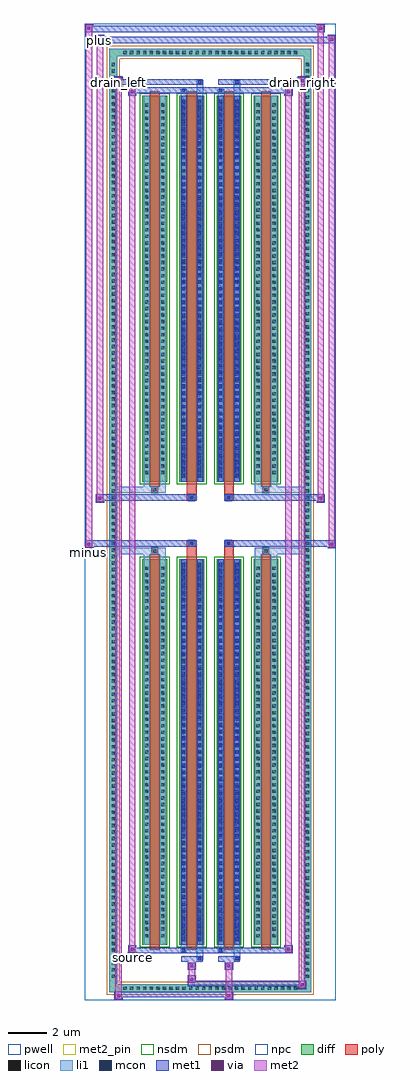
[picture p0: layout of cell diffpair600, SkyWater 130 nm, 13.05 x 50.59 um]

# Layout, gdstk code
import gdstk
lib = gdstk.Library(unit=1e-6, precision=5e-09)
def R(c, l, rs):  # rectangles x0, y0, x1, y1
    for r in rs: c.add(gdstk.rectangle(r[:2], r[2:], *l))
def A(c, l, x, y, w, h, nx, ny, dx, dy):  # array of equal rectangles
    R(c, l, [(x+i*dx, y+j*dy, x+i*dx+w, y+j*dy+h) for i in range(nx) for j in range(ny)])
def P(c, l, *ps):  # polygons
    for p in ps: c.add(gdstk.Polygon(p, *l))
pwell = (64, 44)
diff = (65, 20)
poly = (66, 20)
licon = (66, 44)
li1 = (67, 20)
mcon = (67, 44)
met1 = (68, 20)
via = (68, 44)
met2_pin = (69, 16)
met2 = (69, 20)
nsdm = (93, 44)
psdm = (94, 20)
npc = (95, 20)

diffpair600 = lib.new_cell('diffpair600')
R(diffpair600, pwell, [(-6.51,-24.86,6.51,25.73), (-3.83,-23.05,-0.01,-0.825), (0.01,-23.05,3.83,-0.825), (-3.83,0.825,-0.01,23.05), (0.01,0.825,3.83,23.05)])
A(diffpair600, diff, -4.625, -24.46, 0.41, 0.41, 27, 2, 0.34, 48.51)
A(diffpair600, diff, -5.24, -23.835, 0.41, 0.41, 1, 140, 0, 0.34)
A(diffpair600, diff, 4.83, -23.835, 0.41, 0.41, 1, 140, 0, 0.34)
A(diffpair600, diff, -3.52, -22.005, 1.28, 20, 4, 2, 1.92, 24.01)
R(diffpair600, diff, [(-4.625,-24.46,4.625,-24.05), (-5.24,-23.835,-4.83,23.835), (4.83,-23.835,5.24,23.835), (-4.625,24.05,4.625,24.46)])
P(diffpair600, diff, [(5.24,24.46),(-5.24,24.46),(-5.24,-24.05),(-4.83,-24.05),(-4.83,24.05),(4.83,24.05),(4.83,-24.05),(-4.83,-24.05),(-5.24,-24.05),(-5.24,-24.46),(5.24,-24.46)])
A(diffpair600, poly, -3.13, -22.255, 0.5, 20.5, 4, 2, 1.92, 24.01)
R(diffpair600, poly, [(-3.045,-1.755,-2.715,-1.425), (-3.045,-1.755,-2.715,-1.425), (-1.21,-1.755,-0.71,-1.355), (0.71,-1.755,1.21,-1.355), (2.715,-1.755,3.045,-1.425), (2.715,-1.755,3.045,-1.425), (-1.21,-1.355,-0.71,-1.025), (-1.125,-1.355,-0.795,-1.025), (0.71,-1.355,1.21,-1.025), (0.795,-1.355,1.125,-1.025), (-1.21,1.025,-0.71,1.355), (-1.125,1.025,-0.795,1.355), (0.71,1.025,1.21,1.355), (0.795,1.025,1.125,1.355), (-1.21,1.355,-0.71,1.755), (0.71,1.355,1.21,1.755), (-3.045,1.425,-2.715,1.755), (-3.045,1.425,-2.715,1.755), (2.715,1.425,3.045,1.755), (2.715,1.425,3.045,1.755)])
A(diffpair600, licon, -4.505, -24.34, 0.17, 0.17, 27, 2, 0.34, 48.51)
A(diffpair600, licon, -5.12, -23.715, 0.17, 0.17, 1, 140, 0, 0.34)
A(diffpair600, licon, 4.95, -23.715, 0.17, 0.17, 1, 140, 0, 0.34)
A(diffpair600, licon, -3.38, -21.61, 0.17, 0.17, 1, 57, 0, 0.34)
A(diffpair600, licon, -2.55, -21.61, 0.17, 0.17, 1, 57, 0, 0.34)
A(diffpair600, licon, -1.46, -21.61, 0.17, 0.17, 1, 57, 0, 0.34)
A(diffpair600, licon, -0.63, -21.61, 0.17, 0.17, 1, 57, 0, 0.34)
A(diffpair600, licon, 0.46, -21.61, 0.17, 0.17, 1, 57, 0, 0.34)
A(diffpair600, licon, 1.29, -21.61, 0.17, 0.17, 1, 57, 0, 0.34)
A(diffpair600, licon, 2.38, -21.61, 0.17, 0.17, 1, 57, 0, 0.34)
A(diffpair600, licon, 3.21, -21.61, 0.17, 0.17, 1, 57, 0, 0.34)
A(diffpair600, licon, -3.38, 2.4, 0.17, 0.17, 1, 57, 0, 0.34)
A(diffpair600, licon, -2.55, 2.4, 0.17, 0.17, 1, 57, 0, 0.34)
A(diffpair600, licon, -1.46, 2.4, 0.17, 0.17, 1, 57, 0, 0.34)
A(diffpair600, licon, -0.63, 2.4, 0.17, 0.17, 1, 57, 0, 0.34)
A(diffpair600, licon, 0.46, 2.4, 0.17, 0.17, 1, 57, 0, 0.34)
A(diffpair600, licon, 1.29, 2.4, 0.17, 0.17, 1, 57, 0, 0.34)
A(diffpair600, licon, 2.38, 2.4, 0.17, 0.17, 1, 57, 0, 0.34)
A(diffpair600, licon, 3.21, 2.4, 0.17, 0.17, 1, 57, 0, 0.34)
R(diffpair600, licon, [(-2.965,-1.675,-2.795,-1.505), (2.795,-1.675,2.965,-1.505), (-1.045,-1.275,-0.875,-1.105), (0.875,-1.275,1.045,-1.105), (-1.045,1.105,-0.875,1.275), (0.875,1.105,1.045,1.275), (-2.965,1.505,-2.795,1.675), (2.795,1.505,2.965,1.675)])
A(diffpair600, li1, -4.585, -24.42, 0.33, 0.33, 27, 2, 0.34, 48.51)
A(diffpair600, li1, -5.2, -23.795, 0.33, 0.33, 1, 140, 0, 0.34)
A(diffpair600, li1, 4.87, -23.795, 0.33, 0.33, 1, 140, 0, 0.34)
A(diffpair600, li1, -1.46, -21.81, 0.17, 0.17, 1, 55, 0, 0.36)
A(diffpair600, li1, -0.63, -21.81, 0.17, 0.17, 1, 55, 0, 0.36)
A(diffpair600, li1, 0.46, -21.81, 0.17, 0.17, 1, 55, 0, 0.36)
A(diffpair600, li1, 1.29, -21.81, 0.17, 0.17, 1, 55, 0, 0.36)
A(diffpair600, li1, -3.46, -21.69, 0.33, 0.33, 1, 57, 0, 0.34)
A(diffpair600, li1, -2.63, -21.69, 0.33, 0.33, 1, 57, 0, 0.34)
A(diffpair600, li1, -1.54, -21.69, 0.33, 0.33, 1, 57, 0, 0.34)
A(diffpair600, li1, -0.71, -21.69, 0.33, 0.33, 1, 57, 0, 0.34)
A(diffpair600, li1, 0.38, -21.69, 0.33, 0.33, 1, 57, 0, 0.34)
A(diffpair600, li1, 1.21, -21.69, 0.33, 0.33, 1, 57, 0, 0.34)
A(diffpair600, li1, 2.3, -21.69, 0.33, 0.33, 1, 57, 0, 0.34)
A(diffpair600, li1, 3.13, -21.69, 0.33, 0.33, 1, 57, 0, 0.34)
A(diffpair600, li1, -1.46, 2.2, 0.17, 0.17, 1, 55, 0, 0.36)
A(diffpair600, li1, -0.63, 2.2, 0.17, 0.17, 1, 55, 0, 0.36)
A(diffpair600, li1, 0.46, 2.2, 0.17, 0.17, 1, 55, 0, 0.36)
A(diffpair600, li1, 1.29, 2.2, 0.17, 0.17, 1, 55, 0, 0.36)
A(diffpair600, li1, -3.46, 2.32, 0.33, 0.33, 1, 57, 0, 0.34)
A(diffpair600, li1, -2.63, 2.32, 0.33, 0.33, 1, 57, 0, 0.34)
A(diffpair600, li1, -1.54, 2.32, 0.33, 0.33, 1, 57, 0, 0.34)
A(diffpair600, li1, -0.71, 2.32, 0.33, 0.33, 1, 57, 0, 0.34)
A(diffpair600, li1, 0.38, 2.32, 0.33, 0.33, 1, 57, 0, 0.34)
A(diffpair600, li1, 1.21, 2.32, 0.33, 0.33, 1, 57, 0, 0.34)
A(diffpair600, li1, 2.3, 2.32, 0.33, 0.33, 1, 57, 0, 0.34)
A(diffpair600, li1, 3.13, 2.32, 0.33, 0.33, 1, 57, 0, 0.34)
R(diffpair600, li1, [(-5.24,-24.46,-4.83,-24.05), (-5.24,-24.46,-4.83,-24.05), (-4.83,-24.46,4.83,-24.05), (4.83,-24.46,5.24,-24.05), (4.83,-24.46,5.24,-24.05), (-5.24,-24.05,-4.83,24.05), (4.83,-24.05,5.24,24.05), (-0.71,-22.81,-0.38,-22.005), (-0.63,-22.81,-0.46,-22.64), (1.21,-22.81,1.54,-22.005), (1.29,-22.81,1.46,-22.64), (-1.54,-22.38,-1.21,-22.005), (-1.46,-22.38,-1.29,-22.21), (0.38,-22.38,0.71,-22.005), (0.46,-22.38,0.63,-22.21), (-3.46,-22.005,-3.13,-2.005), (-2.63,-22.005,-2.3,-2.005), (-1.54,-22.005,-1.21,-2.005), (-0.71,-22.005,-0.38,-2.005), (0.38,-22.005,0.71,-2.005), (1.21,-22.005,1.54,-2.005), (2.3,-22.005,2.63,-2.005), (3.13,-22.005,3.46,-2.005), (-1.46,-21.81,-1.29,-2.2), (-0.63,-21.81,-0.46,-2.2), (0.46,-21.81,0.63,-2.2), (1.29,-21.81,1.46,-2.2), (-3.46,-2.005,-3.13,-1.425), (-2.63,-2.005,-2.3,-1.425), (2.3,-2.005,2.63,-1.425), (3.13,-2.005,3.46,-1.425), (-5.24,-1.755,-3.045,-1.425), (-3.46,-1.755,-3.045,-1.425), (-3.045,-1.755,-2.715,-1.425), (-2.715,-1.755,-2.3,-1.425), (2.3,-1.755,2.715,-1.425), (2.715,-1.755,3.045,-1.425), (2.715,-1.755,5.24,-1.425), (3.045,-1.755,3.46,-1.425), (-1.125,-1.355,-0.795,-1.025), (0.795,-1.355,1.125,-1.025), (-1.125,1.025,-0.795,1.355), (0.795,1.025,1.125,1.355), (-5.24,1.425,-3.045,1.755), (-3.46,1.425,-3.045,1.755), (-3.46,1.425,-3.13,2.005), (-3.045,1.425,-2.715,1.755), (-2.715,1.425,-2.3,1.755), (-2.63,1.425,-2.3,2.005), (2.3,1.425,2.715,1.755), (2.3,1.425,2.63,2.005), (2.715,1.425,3.045,1.755), (2.715,1.425,5.24,1.755), (3.045,1.425,3.46,1.755), (3.13,1.425,3.46,2.005), (-3.46,2.005,-3.13,22.005), (-2.63,2.005,-2.3,22.005), (-1.54,2.005,-1.21,22.005), (-0.71,2.005,-0.38,22.005), (0.38,2.005,0.71,22.005), (1.21,2.005,1.54,22.005), (2.3,2.005,2.63,22.005), (3.13,2.005,3.46,22.005), (-1.46,2.2,-1.29,21.81), (-0.63,2.2,-0.46,21.81), (0.46,2.2,0.63,21.81), (1.29,2.2,1.46,21.81), (-1.54,22.005,-1.21,22.38), (-0.71,22.005,-0.38,22.81), (0.38,22.005,0.71,22.38), (1.21,22.005,1.54,22.81), (-1.46,22.21,-1.29,22.38), (0.46,22.21,0.63,22.38), (-0.63,22.64,-0.46,22.81), (1.29,22.64,1.46,22.81), (-5.24,24.05,-4.83,24.46), (-5.24,24.05,-4.83,24.46), (-4.83,24.05,4.83,24.46), (4.83,24.05,5.24,24.46), (4.83,24.05,5.24,24.46)])
A(diffpair600, mcon, -1.46, -21.81, 0.17, 0.17, 1, 55, 0, 0.36)
A(diffpair600, mcon, -0.63, -21.81, 0.17, 0.17, 1, 55, 0, 0.36)
A(diffpair600, mcon, 0.46, -21.81, 0.17, 0.17, 1, 55, 0, 0.36)
A(diffpair600, mcon, 1.29, -21.81, 0.17, 0.17, 1, 55, 0, 0.36)
A(diffpair600, mcon, -1.46, 2.2, 0.17, 0.17, 1, 55, 0, 0.36)
A(diffpair600, mcon, -0.63, 2.2, 0.17, 0.17, 1, 55, 0, 0.36)
A(diffpair600, mcon, 0.46, 2.2, 0.17, 0.17, 1, 55, 0, 0.36)
A(diffpair600, mcon, 1.29, 2.2, 0.17, 0.17, 1, 55, 0, 0.36)
R(diffpair600, mcon, [(-0.63,-22.81,-0.46,-22.64), (1.29,-22.81,1.46,-22.64), (-1.46,-22.38,-1.29,-22.21), (0.46,-22.38,0.63,-22.21), (-1.045,-1.275,-0.875,-1.105), (0.875,-1.275,1.045,-1.105), (-1.045,1.105,-0.875,1.275), (0.875,1.105,1.045,1.275), (-1.46,22.21,-1.29,22.38), (0.46,22.21,0.63,22.38), (-0.63,22.64,-0.46,22.81), (1.29,22.64,1.46,22.81)])
A(diffpair600, met1, -1.52, -21.87, 0.29, 0.29, 1, 55, 0, 0.36)
A(diffpair600, met1, -0.69, -21.87, 0.29, 0.29, 1, 55, 0, 0.36)
A(diffpair600, met1, 0.4, -21.87, 0.29, 0.29, 1, 55, 0, 0.36)
A(diffpair600, met1, 1.23, -21.87, 0.29, 0.29, 1, 55, 0, 0.36)
A(diffpair600, met1, -1.52, 2.14, 0.29, 0.29, 1, 55, 0, 0.36)
A(diffpair600, met1, -0.69, 2.14, 0.29, 0.29, 1, 55, 0, 0.36)
A(diffpair600, met1, 0.4, 2.14, 0.29, 0.29, 1, 55, 0, 0.36)
A(diffpair600, met1, 1.23, 2.14, 0.29, 0.29, 1, 55, 0, 0.36)
R(diffpair600, met1, [(-4.97,-24.86,-4.54,-24.43), (0.745,-24.86,1.175,-24.43), (-4.97,-24.72,1.175,-24.43), (4.54,-24.29,4.97,-23.86), (-1.175,-24.15,4.97,-23.86), (-1.175,-24.01,-0.745,-23.58), (-1.175,-23.3,-0.745,-22.87), (0.745,-23.3,1.175,-22.87), (-1.52,-22.87,-0.4,-22.58), (-0.69,-22.87,-0.4,-22.58), (0.4,-22.87,1.52,-22.58), (1.23,-22.87,1.52,-22.58), (-4.26,-22.44,-3.83,-22.01), (-4.26,-22.44,-1.52,-22.15), (-1.52,-22.44,-1.23,-22.15), (-1.52,-22.44,-0.4,-22.15), (-0.4,-22.44,0.4,-22.15), (0.4,-22.44,0.69,-22.15), (0.4,-22.44,1.52,-22.15), (1.52,-22.44,4.26,-22.15), (3.83,-22.44,4.26,-22.01), (-1.52,-22.005,-1.23,-2.005), (-0.69,-22.005,-0.4,-2.005), (0.4,-22.005,0.69,-2.005), (1.23,-22.005,1.52,-2.005), (-6.51,-1.455,-6.08,-1.025), (6.08,-1.455,6.51,-1.025), (-6.51,-1.355,-0.71,-1.025), (-1.21,-1.355,-0.71,-1.025), (0.71,-1.355,1.21,-1.025), (0.71,-1.355,6.51,-1.025), (-1.105,-1.335,-0.815,-1.045), (0.815,-1.335,1.105,-1.045), (-5.94,0.925,-5.51,1.355), (5.51,0.925,5.94,1.355), (-5.94,1.025,-1.21,1.355), (-1.21,1.025,-0.71,1.355), (0.71,1.025,1.21,1.355), (1.21,1.025,5.94,1.355), (-1.105,1.045,-0.815,1.335), (0.815,1.045,1.105,1.335), (-1.52,2.005,-1.23,22.005), (-0.69,2.005,-0.4,22.005), (0.4,2.005,0.69,22.005), (1.23,2.005,1.52,22.005), (-4.26,22.01,-3.83,22.44), (3.83,22.01,4.26,22.44), (-4.26,22.15,-1.52,22.44), (-1.52,22.15,-1.23,22.44), (-1.52,22.15,-0.4,22.44), (-0.4,22.15,0.4,22.44), (0.4,22.15,0.69,22.44), (0.4,22.15,1.52,22.44), (1.52,22.15,4.26,22.44), (-4.97,22.58,-4.54,23.01), (-4.97,22.58,-1.52,22.87), (-1.52,22.58,-0.4,22.87), (-0.69,22.58,-0.4,22.87), (0.4,22.58,1.52,22.87), (1.23,22.58,1.52,22.87), (1.52,22.58,4.97,22.87), (4.54,22.58,4.97,23.01), (-5.94,24.73,-5.51,25.16), (-5.94,24.73,-3.83,25.06), (-3.83,24.73,3.83,25.06), (3.83,24.73,6.51,25.06), (6.08,24.73,6.51,25.16), (-6.51,25.3,-6.08,25.73), (-6.51,25.3,-3.83,25.63), (-3.83,25.3,3.83,25.63), (3.83,25.3,5.94,25.63), (5.51,25.3,5.94,25.73)])
R(diffpair600, via, [(-4.83,-24.72,-4.68,-24.57), (0.885,-24.72,1.035,-24.57), (4.68,-24.15,4.83,-24), (-1.035,-23.87,-0.885,-23.72), (-1.035,-23.16,-0.885,-23.01), (0.885,-23.16,1.035,-23.01), (-4.12,-22.3,-3.97,-22.15), (3.97,-22.3,4.12,-22.15), (-6.37,-1.315,-6.22,-1.165), (6.22,-1.315,6.37,-1.165), (-5.8,1.065,-5.65,1.215), (5.65,1.065,5.8,1.215), (-4.12,22.15,-3.97,22.3), (3.97,22.15,4.12,22.3), (-4.83,22.72,-4.68,22.87), (4.68,22.72,4.83,22.87), (-5.8,24.87,-5.65,25.02), (6.22,24.87,6.37,25.02), (-6.37,25.44,-6.22,25.59), (5.65,25.44,5.8,25.59)])
R(diffpair600, met2_pin, [(-4.295,-22.89,-3.795,-22.39), (-6.545,-1.905,-6.045,-1.405), (-5.005,22.46,-4.505,22.96), (4.505,22.46,5.005,22.96), (-5.975,24.61,-5.475,25.11)])
R(diffpair600, met2, [(-4.92,-24.81,-4.59,-24.48), (-4.92,-24.81,-4.59,22.96), (0.795,-24.81,1.125,-24.48), (0.795,-24.48,1.125,-23.25), (4.59,-24.24,4.92,-23.91), (4.59,-24.24,4.92,22.96), (-1.125,-23.96,-0.795,-23.63), (-1.125,-23.63,-0.795,-23.25), (-1.125,-23.25,-0.795,-22.92), (0.795,-23.25,1.125,-22.92), (-4.21,-22.39,-3.88,-22.06), (-4.21,-22.39,-3.88,22.39), (3.88,-22.39,4.21,-22.06), (3.88,-22.39,4.21,22.39), (-6.46,-1.405,-6.13,-1.075), (-6.46,-1.405,-6.13,25.68), (6.13,-1.405,6.46,-1.075), (6.13,-1.405,6.46,25.11), (-5.89,0.975,-5.56,1.305), (-5.89,0.975,-5.56,25.11), (5.56,0.975,5.89,1.305), (5.56,0.975,5.89,25.68), (-4.21,22.06,-3.88,22.39), (3.88,22.06,4.21,22.39), (-4.92,22.63,-4.59,22.96), (4.59,22.63,4.92,22.96), (-5.89,24.78,-5.56,25.11), (6.13,24.78,6.46,25.11), (-6.46,25.35,-6.13,25.68), (5.56,25.35,5.89,25.68)])
P(diffpair600, met2, [(6.46,-1.405),(6.46,-1.405),(6.46,-1.075),(6.46,-1.075)],
  [(6.46,24.78),(6.46,24.78),(6.46,25.11),(6.46,25.11)],
  [(-6.13,-1.405),(-6.13,-1.405),(-6.13,-1.075),(-6.13,-1.075)],
  [(-6.13,25.35),(-6.13,25.35),(-6.13,25.68),(-6.13,25.68)],
  [(5.89,0.975),(5.89,0.975),(5.89,1.305),(5.89,1.305)],
  [(5.89,25.35),(5.89,25.35),(5.89,25.68),(5.89,25.68)],
  [(-5.56,0.975),(-5.56,0.975),(-5.56,1.305),(-5.56,1.305)],
  [(-5.56,24.78),(-5.56,24.78),(-5.56,25.11),(-5.56,25.11)],
  [(-4.59,-24.81),(-4.59,-24.81),(-4.59,-24.48),(-4.59,-24.48)],
  [(-4.59,22.63),(-4.59,22.63),(-4.59,22.96),(-4.59,22.96)],
  [(4.92,-24.24),(4.92,-24.24),(4.92,-23.91),(4.92,-23.91)],
  [(4.92,22.63),(4.92,22.63),(4.92,22.96),(4.92,22.96)],
  [(-3.88,-22.39),(-3.88,-22.39),(-3.88,-22.06),(-3.88,-22.06)],
  [(-3.88,22.06),(-3.88,22.06),(-3.88,22.39),(-3.88,22.39)],
  [(4.21,-22.39),(4.21,-22.39),(4.21,-22.06),(4.21,-22.06)],
  [(4.21,22.06),(4.21,22.06),(4.21,22.39),(4.21,22.39)])
A(diffpair600, nsdm, -3.65, -22.135, 1.54, 20.26, 4, 2, 1.92, 24.01)
P(diffpair600, psdm, [(5.37,24.59),(-5.37,24.59),(-5.37,-23.92),(-4.7,-23.92),(-4.7,23.92),(4.7,23.92),(4.7,-23.92),(-4.7,-23.92),(-5.37,-23.92),(-5.37,-24.59),(5.37,-24.59)])
R(diffpair600, npc, [(-3.065,-1.775,-2.695,-1.405), (2.695,-1.775,3.065,-1.405), (-1.145,-1.375,-0.775,-1.005), (0.775,-1.375,1.145,-1.005), (-1.145,1.005,-0.775,1.375), (0.775,1.005,1.145,1.375), (-3.065,1.405,-2.695,1.775), (2.695,1.405,3.065,1.775)])
diffpair600.add(gdstk.Label('minus', (-6.295,-1.655), layer=69, texttype=5))
diffpair600.add(gdstk.Label('drain_right', (4.755,22.71), layer=69, texttype=5))
diffpair600.add(gdstk.Label('drain_left', (-4.755,22.71), layer=69, texttype=5))
diffpair600.add(gdstk.Label('source', (-4.045,-22.64), layer=69, texttype=5))
diffpair600.add(gdstk.Label('plus', (-5.725,24.86), layer=69, texttype=5))

lib.write_gds('diffpair600.gds')
